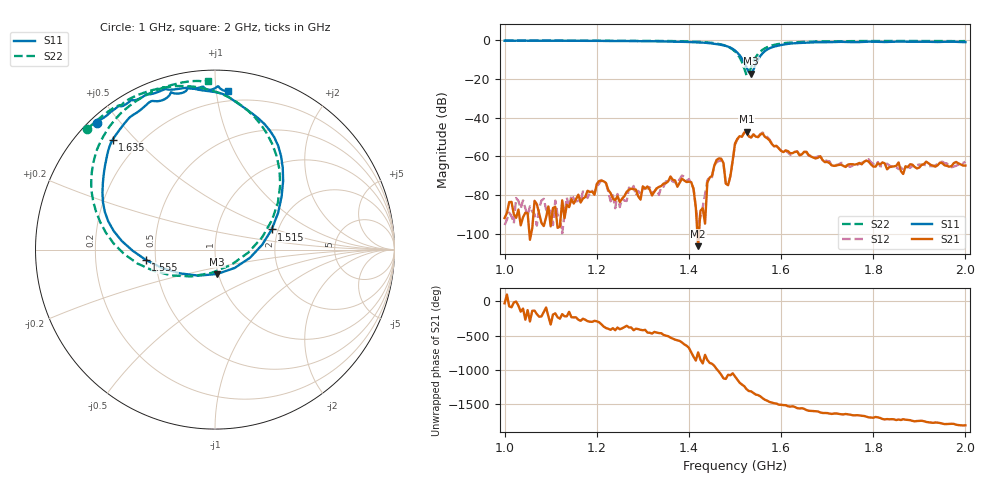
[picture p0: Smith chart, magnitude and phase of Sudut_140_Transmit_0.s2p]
# Hz S RI R 50
! CMT, C1220, 16058040, 17.2.0/1
! Date: 15/08/2018 09:03:31
! Data: Format (Calibration Info)
! Freq  S11: Re/Im (F2)  S21: Re/Im (F2)  S12: Re/Im (F2)  S22: Re/Im (F2)
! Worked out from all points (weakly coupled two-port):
!   201 points, 1 GHz to 2 GHz, reference 50 ohm
!   highest |S21| = -47.12 dB at 1.525 GHz (marker M1); lowest = -106.2 dB at 1.42 GHz (marker M2)
!   lowest |S11| = -17.3 dB at 1.535 GHz (marker M3), VSWR 1.32, Z = 49.3 - j13.7 ohm
!   |S11| at or under -10 dB: 1.516 GHz to 1.55 GHz (33.88 MHz wide, 2.21 % of centre)
!   |S22| runs from -18.1 to -0.2 dB; largest |S21 - S12| = 0.00036
!   S11 on the Smith chart (normalised r, x): 1 GHz: 0.02, +0.43; 1.515 GHz: 1.85, +0.47; 1.555 GHz: 0.44, -0.06; 1.635 GHz: 0.11, +0.43; 2 GHz: 0.13, +1.08
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1e9  -0.6554 0.703  2.28e-05 -1.24e-05  1.38e-05 -1.02e-05  -0.7114 0.6706
1.17e9  -0.4925 0.8122  -2.45e-05 7.85e-05  -1.96e-05 0.000124  -0.5597 0.7924
1.195e9  -0.4635 0.8364  2.42e-05 0.000101  1.7e-05 0.000108  -0.5281 0.805
1.21e9  -0.4578 0.8319  0.000215 0.000107  0.000216 0.000121  -0.5189 0.8071
1.235e9  -0.4045 0.8499  7.15e-05 -4.11e-05  9.05e-05 -4.41e-05  -0.4919 0.831
1.28e9  -0.3537 0.8669  7.14e-05 -0.000124  9.27e-05 -0.000148  -0.4289 0.8618
1.335e9  -0.2537 0.891  -3.33e-05 -0.000162  -2.74e-05 -9.84e-05  -0.3277 0.8944
1.385e9  -0.1189 0.8975  -0.000142 0.000227  -0.000198 0.000255  -0.2032 0.9113
1.42e9  0.0214 0.8735  4.52e-06 -1.87e-06  -6.45e-06 1.84e-05  -0.0719 0.9001
1.435e9  0.0762 0.8497  9.76e-06 -1.58e-05  -2.05e-07 -0.000106  0.00346 0.8798
1.465e9  0.24 0.7325  0.000482 0.00075  0.000457 0.00062  0.186 0.7719
1.475e9  0.3043 0.6652  0.000514 -0.00044  0.000475 -0.000415  0.2551 0.6976
1.485e9  0.3519 0.5787  0.000178 3.71e-05  0.000144 0.00011  0.318 0.5903
1.5e9  0.3795 0.3819  0.0021 -0.000492  0.00198 -0.000456  0.3631 0.356
1.515e9  0.3161 0.1123  -0.00208 -0.00246  -0.00201 -0.00258  0.2634 0.0696
1.525e9  0.1944 -0.0461  -0.0042 0.00133  -0.00435 0.00124  0.0899 -0.0853
1.535e9  0.0115 -0.136  -0.00197 0.00236  -0.00203 0.00237  -0.132 -0.1496
1.555e9  -0.3862 -0.0568  0.00197 0.00312  0.00187 0.0033  -0.5064 -0.0246
1.635e9  -0.57 0.6129  -0.000546 -0.00122  -0.000543 -0.00124  -0.6258 0.6244
1.67e9  -0.4809 0.7309  -0.000863 -0.000368  -0.00091 -0.000383  -0.5525 0.7291
1.835e9  -0.164 0.882  6.22e-05 0.000528  -0.000139 0.000571  -0.2758 0.9067
2e9  0.075 0.8813  0.000583 -4.13e-05  0.00073 -4.26e-05  -0.0409 0.9412
